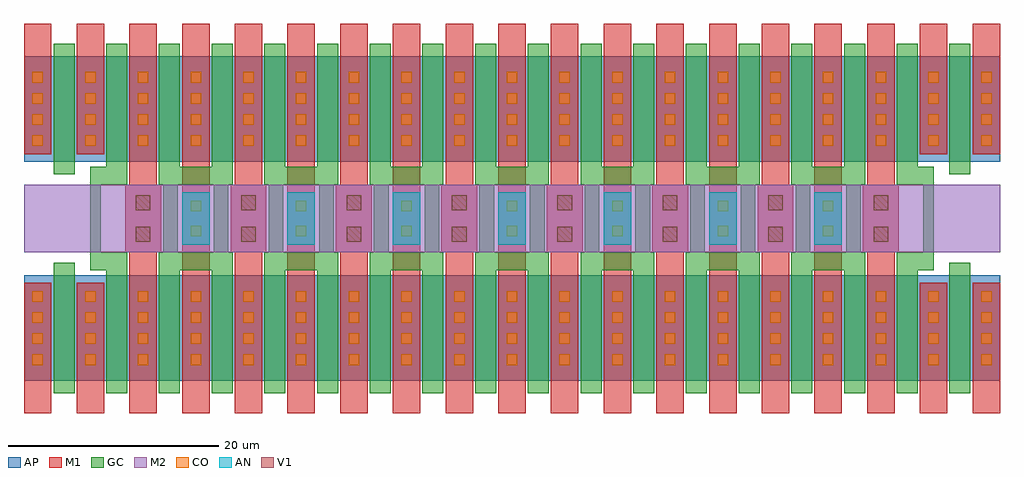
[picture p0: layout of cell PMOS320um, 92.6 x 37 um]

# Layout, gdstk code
import gdstk
lib = gdstk.Library(unit=1e-6, precision=1e-09)
def R(c, l, rs):  # rectangles x0, y0, x1, y1
    for r in rs: c.add(gdstk.rectangle(r[:2], r[2:], *l))
def A(c, l, x, y, w, h, nx, ny, dx, dy):  # array of equal rectangles
    R(c, l, [(x+i*dx, y+j*dy, x+i*dx+w, y+j*dy+h) for i in range(nx) for j in range(ny)])
AP = (3, 1)
AN = (3, 2)
GC = (8, 1)
CO = (11, 0)
M1 = (13, 0)
V1 = (19, 0)
M2 = (20, 0)

cont_n = lib.new_cell('cont_n')
R(cont_n, AN, [(-1.3,-1.3,1.3,1.3)])
R(cont_n, CO, [(-0.5,-0.5,0.5,0.5)])
R(cont_n, M1, [(-1.3,-1.3,1.3,1.3)])

via_1 = lib.new_cell('via_1')
R(via_1, M1, [(-1.7,-1.7,1.7,1.7)])
R(via_1, V1, [(-0.7,-0.7,0.7,0.7)])
R(via_1, M2, [(-1.7,-1.7,1.7,1.7)])

fet_p_2 = lib.new_cell('fet_p$2')
R(fet_p_2, AP, [(-3.8,-5,3.8,5)])
A(fet_p_2, CO, -3, -3.5, 1, 1, 1, 4, 0, 2)
A(fet_p_2, CO, 2, -3.5, 1, 1, 1, 4, 0, 2)
R(fet_p_2, M1, [(-3.8,-4.3,-1.2,4.3), (1.2,-4.3,3.8,4.3)])
fet_p_2.add(gdstk.FlexPath([(0,-6.2),(0,6.2)], 2, ends="flush", simple_path=True, layer=8, datatype=1))  # GC

fet_p = lib.new_cell('fet_p')
R(fet_p, AP, [(-41.3,-5,41.3,5)])
A(fet_p, CO, -40.5, -3.5, 1, 1, 17, 4, 5, 2)
A(fet_p, M1, -41.3, -4.3, 2.6, 8.6, 17, 1, 5, 0)
fet_p.add(gdstk.FlexPath([(2.5,-6.2),(2.5,6.2)], 2, ends="flush", simple_path=True, layer=8, datatype=1))  # GC
fet_p.add(gdstk.FlexPath([(-2.5,-6.2),(-2.5,6.2)], 2, ends="flush", simple_path=True, layer=8, datatype=1))  # GC
fet_p.add(gdstk.FlexPath([(7.5,-6.2),(7.5,6.2)], 2, ends="flush", simple_path=True, layer=8, datatype=1))  # GC
fet_p.add(gdstk.FlexPath([(-7.5,-6.2),(-7.5,6.2)], 2, ends="flush", simple_path=True, layer=8, datatype=1))  # GC
fet_p.add(gdstk.FlexPath([(12.5,-6.2),(12.5,6.2)], 2, ends="flush", simple_path=True, layer=8, datatype=1))  # GC
fet_p.add(gdstk.FlexPath([(-12.5,-6.2),(-12.5,6.2)], 2, ends="flush", simple_path=True, layer=8, datatype=1))  # GC
fet_p.add(gdstk.FlexPath([(17.5,-6.2),(17.5,6.2)], 2, ends="flush", simple_path=True, layer=8, datatype=1))  # GC
fet_p.add(gdstk.FlexPath([(-17.5,-6.2),(-17.5,6.2)], 2, ends="flush", simple_path=True, layer=8, datatype=1))  # GC
fet_p.add(gdstk.FlexPath([(22.5,-6.2),(22.5,6.2)], 2, ends="flush", simple_path=True, layer=8, datatype=1))  # GC
fet_p.add(gdstk.FlexPath([(-22.5,-6.2),(-22.5,6.2)], 2, ends="flush", simple_path=True, layer=8, datatype=1))  # GC
fet_p.add(gdstk.FlexPath([(27.5,-6.2),(27.5,6.2)], 2, ends="flush", simple_path=True, layer=8, datatype=1))  # GC
fet_p.add(gdstk.FlexPath([(-27.5,-6.2),(-27.5,6.2)], 2, ends="flush", simple_path=True, layer=8, datatype=1))  # GC
fet_p.add(gdstk.FlexPath([(32.5,-6.2),(32.5,6.2)], 2, ends="flush", simple_path=True, layer=8, datatype=1))  # GC
fet_p.add(gdstk.FlexPath([(-32.5,-6.2),(-32.5,6.2)], 2, ends="flush", simple_path=True, layer=8, datatype=1))  # GC
fet_p.add(gdstk.FlexPath([(37.5,-6.2),(37.5,6.2)], 2, ends="flush", simple_path=True, layer=8, datatype=1))  # GC
fet_p.add(gdstk.FlexPath([(-37.5,-6.2),(-37.5,6.2)], 2, ends="flush", simple_path=True, layer=8, datatype=1))  # GC

pmos320um = lib.new_cell('PMOS320um')
A(pmos320um, GC, -33.5, -4.9, 7, 1.7, 7, 2, 10, 8.1)
R(pmos320um, GC, [(-40,-4.9,-36.5,-3.2), (36.5,-4.9,40,-3.2), (-40,3.2,-36.5,4.9), (36.5,3.2,40,4.9)])
pmos320um.add(gdstk.FlexPath([(30,-6.1),(30,-2.5),(30,-2.5)], 2.6, ends="flush", simple_path=True, layer=13, datatype=0))  # M1
pmos320um.add(gdstk.FlexPath([(30,2.5),(30,6.1)], 2.6, ends="flush", simple_path=True, layer=13, datatype=0))  # M1
pmos320um.add(gdstk.FlexPath([(-40,-18.5),(-40,-14.7)], 2.6, ends="flush", simple_path=True, layer=13, datatype=0))  # M1
pmos320um.add(gdstk.FlexPath([(-45,-18.5),(-45,-14.7)], 2.6, ends="flush", simple_path=True, layer=13, datatype=0))  # M1
pmos320um.add(gdstk.FlexPath([(20,-6.1),(20,-2.5),(20,-2.5)], 2.6, ends="flush", simple_path=True, layer=13, datatype=0))  # M1
pmos320um.add(gdstk.FlexPath([(20,2.5),(20,6.1)], 2.6, ends="flush", simple_path=True, layer=13, datatype=0))  # M1
pmos320um.add(gdstk.FlexPath([(10,-6.1),(10,-2.5),(10,-2.5)], 2.6, ends="flush", simple_path=True, layer=13, datatype=0))  # M1
pmos320um.add(gdstk.FlexPath([(10,2.5),(10,6.1)], 2.6, ends="flush", simple_path=True, layer=13, datatype=0))  # M1
pmos320um.add(gdstk.FlexPath([(0,-6.1),(0,-2.5),(0,-2.5)], 2.6, ends="flush", simple_path=True, layer=13, datatype=0))  # M1
pmos320um.add(gdstk.FlexPath([(0,2.5),(0,6.1)], 2.6, ends="flush", simple_path=True, layer=13, datatype=0))  # M1
pmos320um.add(gdstk.FlexPath([(-10,-6.1),(-10,-2.5),(-10,-2.5)], 2.6, ends="flush", simple_path=True, layer=13, datatype=0))  # M1
pmos320um.add(gdstk.FlexPath([(-10,2.5),(-10,6.1)], 2.6, ends="flush", simple_path=True, layer=13, datatype=0))  # M1
pmos320um.add(gdstk.FlexPath([(-20,-6.1),(-20,-2.5),(-20,-2.5)], 2.6, ends="flush", simple_path=True, layer=13, datatype=0))  # M1
pmos320um.add(gdstk.FlexPath([(-20,2.5),(-20,6.1)], 2.6, ends="flush", simple_path=True, layer=13, datatype=0))  # M1
pmos320um.add(gdstk.FlexPath([(-30,-6.1),(-30,-2.5),(-30,-2.5)], 2.6, ends="flush", simple_path=True, layer=13, datatype=0))  # M1
pmos320um.add(gdstk.FlexPath([(-30,2.5),(-30,6.1)], 2.6, ends="flush", simple_path=True, layer=13, datatype=0))  # M1
pmos320um.add(gdstk.FlexPath([(-35,-18.5),(-35,-14.7)], 2.6, ends="flush", simple_path=True, layer=13, datatype=0))  # M1
pmos320um.add(gdstk.FlexPath([(-30,-14.7),(-30,-18.5)], 2.6, ends="flush", simple_path=True, layer=13, datatype=0))  # M1
pmos320um.add(gdstk.FlexPath([(-25,-14.7),(-25,-18.5)], 2.6, ends="flush", simple_path=True, layer=13, datatype=0))  # M1
pmos320um.add(gdstk.FlexPath([(-15,-18.5),(-15,-14.7)], 2.6, ends="flush", simple_path=True, layer=13, datatype=0))  # M1
pmos320um.add(gdstk.FlexPath([(-20,-18.5),(-20,-14.7)], 2.6, ends="flush", simple_path=True, layer=13, datatype=0))  # M1
pmos320um.add(gdstk.FlexPath([(-10,-18.5),(-10,-14.7)], 2.6, ends="flush", simple_path=True, layer=13, datatype=0))  # M1
pmos320um.add(gdstk.FlexPath([(-5,-14.7),(-5,-18.5)], 2.6, ends="flush", simple_path=True, layer=13, datatype=0))  # M1
pmos320um.add(gdstk.FlexPath([(0,-14.7),(0,-18.5)], 2.6, ends="flush", simple_path=True, layer=13, datatype=0))  # M1
pmos320um.add(gdstk.FlexPath([(10,-18.5),(10,-14.7)], 2.6, ends="flush", simple_path=True, layer=13, datatype=0))  # M1
pmos320um.add(gdstk.FlexPath([(5,-18.5),(5,-14.7)], 2.6, ends="flush", simple_path=True, layer=13, datatype=0))  # M1
pmos320um.add(gdstk.FlexPath([(15,-18.5),(15,-14.7)], 2.6, ends="flush", simple_path=True, layer=13, datatype=0))  # M1
pmos320um.add(gdstk.FlexPath([(20,-14.7),(20,-18.5)], 2.6, ends="flush", simple_path=True, layer=13, datatype=0))  # M1
pmos320um.add(gdstk.FlexPath([(25,-14.7),(25,-18.5)], 2.6, ends="flush", simple_path=True, layer=13, datatype=0))  # M1
pmos320um.add(gdstk.FlexPath([(35,-18.5),(35,-14.7)], 2.6, ends="flush", simple_path=True, layer=13, datatype=0))  # M1
pmos320um.add(gdstk.FlexPath([(30,-18.5),(30,-14.7)], 2.6, ends="flush", simple_path=True, layer=13, datatype=0))  # M1
pmos320um.add(gdstk.FlexPath([(40,-18.5),(40,-14.7)], 2.6, ends="flush", simple_path=True, layer=13, datatype=0))  # M1
pmos320um.add(gdstk.FlexPath([(45,-14.7),(45,-18.5)], 2.6, ends="flush", simple_path=True, layer=13, datatype=0))  # M1
pmos320um.add(gdstk.FlexPath([(-40,18.5),(-40,14.7)], 2.6, ends="flush", simple_path=True, layer=13, datatype=0))  # M1
pmos320um.add(gdstk.FlexPath([(-45,18.5),(-45,14.7)], 2.6, ends="flush", simple_path=True, layer=13, datatype=0))  # M1
pmos320um.add(gdstk.FlexPath([(-35,18.5),(-35,14.7)], 2.6, ends="flush", simple_path=True, layer=13, datatype=0))  # M1
pmos320um.add(gdstk.FlexPath([(-30,14.7),(-30,18.5)], 2.6, ends="flush", simple_path=True, layer=13, datatype=0))  # M1
pmos320um.add(gdstk.FlexPath([(-25,14.7),(-25,18.5)], 2.6, ends="flush", simple_path=True, layer=13, datatype=0))  # M1
pmos320um.add(gdstk.FlexPath([(-15,18.5),(-15,14.7)], 2.6, ends="flush", simple_path=True, layer=13, datatype=0))  # M1
pmos320um.add(gdstk.FlexPath([(-20,18.5),(-20,14.7)], 2.6, ends="flush", simple_path=True, layer=13, datatype=0))  # M1
pmos320um.add(gdstk.FlexPath([(-10,18.5),(-10,14.7)], 2.6, ends="flush", simple_path=True, layer=13, datatype=0))  # M1
pmos320um.add(gdstk.FlexPath([(-5,14.7),(-5,18.5)], 2.6, ends="flush", simple_path=True, layer=13, datatype=0))  # M1
pmos320um.add(gdstk.FlexPath([(0,14.7),(0,18.5)], 2.6, ends="flush", simple_path=True, layer=13, datatype=0))  # M1
pmos320um.add(gdstk.FlexPath([(10,18.5),(10,14.7)], 2.6, ends="flush", simple_path=True, layer=13, datatype=0))  # M1
pmos320um.add(gdstk.FlexPath([(5,18.5),(5,14.7)], 2.6, ends="flush", simple_path=True, layer=13, datatype=0))  # M1
pmos320um.add(gdstk.FlexPath([(15,18.5),(15,14.7)], 2.6, ends="flush", simple_path=True, layer=13, datatype=0))  # M1
pmos320um.add(gdstk.FlexPath([(20,14.7),(20,18.5)], 2.6, ends="flush", simple_path=True, layer=13, datatype=0))  # M1
pmos320um.add(gdstk.FlexPath([(25,14.7),(25,18.5)], 2.6, ends="flush", simple_path=True, layer=13, datatype=0))  # M1
pmos320um.add(gdstk.FlexPath([(35,18.5),(35,14.7)], 2.6, ends="flush", simple_path=True, layer=13, datatype=0))  # M1
pmos320um.add(gdstk.FlexPath([(30,18.5),(30,14.7)], 2.6, ends="flush", simple_path=True, layer=13, datatype=0))  # M1
pmos320um.add(gdstk.FlexPath([(40,18.5),(40,14.7)], 2.6, ends="flush", simple_path=True, layer=13, datatype=0))  # M1
pmos320um.add(gdstk.FlexPath([(45,14.7),(45,18.5)], 2.6, ends="flush", simple_path=True, layer=13, datatype=0))  # M1
pmos320um.add(gdstk.FlexPath([(35,-6.1),(35,-3.2)], 2.6, ends="flush", simple_path=True, layer=13, datatype=0))  # M1
pmos320um.add(gdstk.FlexPath([(35,3.2),(35,6.1)], 2.6, ends="flush", simple_path=True, layer=13, datatype=0))  # M1
pmos320um.add(gdstk.FlexPath([(25,-6.1),(25,-3.2)], 2.6, ends="flush", simple_path=True, layer=13, datatype=0))  # M1
pmos320um.add(gdstk.FlexPath([(25,3.2),(25,6.1)], 2.6, ends="flush", simple_path=True, layer=13, datatype=0))  # M1
pmos320um.add(gdstk.FlexPath([(15,-6.1),(15,-3.2)], 2.6, ends="flush", simple_path=True, layer=13, datatype=0))  # M1
pmos320um.add(gdstk.FlexPath([(15,3.2),(15,6.1)], 2.6, ends="flush", simple_path=True, layer=13, datatype=0))  # M1
pmos320um.add(gdstk.FlexPath([(5,-6.1),(5,-3.2)], 2.6, ends="flush", simple_path=True, layer=13, datatype=0))  # M1
pmos320um.add(gdstk.FlexPath([(5,3.2),(5,6.1)], 2.6, ends="flush", simple_path=True, layer=13, datatype=0))  # M1
pmos320um.add(gdstk.FlexPath([(-5,-6.1),(-5,-3.2)], 2.6, ends="flush", simple_path=True, layer=13, datatype=0))  # M1
pmos320um.add(gdstk.FlexPath([(-5,3.2),(-5,6.1)], 2.6, ends="flush", simple_path=True, layer=13, datatype=0))  # M1
pmos320um.add(gdstk.FlexPath([(-15,-6.1),(-15,-3.2)], 2.6, ends="flush", simple_path=True, layer=13, datatype=0))  # M1
pmos320um.add(gdstk.FlexPath([(-15,3.2),(-15,6.1)], 2.6, ends="flush", simple_path=True, layer=13, datatype=0))  # M1
pmos320um.add(gdstk.FlexPath([(-25,3.2),(-25,6.1)], 2.6, ends="flush", simple_path=True, layer=13, datatype=0))  # M1
pmos320um.add(gdstk.FlexPath([(-25,-6.1),(-25,-3.2)], 2.6, ends="flush", simple_path=True, layer=13, datatype=0))  # M1
pmos320um.add(gdstk.FlexPath([(-35,-6.1),(-35,-3.2)], 2.6, ends="flush", simple_path=True, layer=13, datatype=0))  # M1
pmos320um.add(gdstk.FlexPath([(-35,3.2),(-35,6.1)], 2.6, ends="flush", simple_path=True, layer=13, datatype=0))  # M1
pmos320um.add(gdstk.FlexPath([(-46.3,0),(46.3,0)], 6.4, ends="flush", simple_path=True, layer=20, datatype=0))  # M2
pmos320um.add(gdstk.FlexPath([(-39.5,-3.2),(-39.5,3.2)], 1, ends="flush", simple_path=True, layer=8, datatype=1))  # GC
pmos320um.add(gdstk.FlexPath([(39.5,-3.2),(39.5,3.2)], 1, ends="flush", simple_path=True, layer=8, datatype=1))  # GC
pmos320um.add(gdstk.FlexPath([(17.6,-3.2),(17.6,3.2),(17.6,3.2)], 1.4, ends="flush", simple_path=True, layer=8, datatype=1))  # GC
pmos320um.add(gdstk.FlexPath([(22.4,-3.2),(22.4,3.2),(22.4,3.2)], 1.4, ends="flush", simple_path=True, layer=8, datatype=1))  # GC
pmos320um.add(gdstk.FlexPath([(7.6,-3.2),(7.6,3.2),(7.6,3.2)], 1.4, ends="flush", simple_path=True, layer=8, datatype=1))  # GC
pmos320um.add(gdstk.FlexPath([(12.4,-3.2),(12.4,3.2),(12.4,3.2)], 1.4, ends="flush", simple_path=True, layer=8, datatype=1))  # GC
pmos320um.add(gdstk.FlexPath([(27.6,-3.2),(27.6,3.2),(27.6,3.2)], 1.4, ends="flush", simple_path=True, layer=8, datatype=1))  # GC
pmos320um.add(gdstk.FlexPath([(32.4,-3.2),(32.4,3.2),(32.4,3.2)], 1.4, ends="flush", simple_path=True, layer=8, datatype=1))  # GC
pmos320um.add(gdstk.FlexPath([(-2.4,-3.2),(-2.4,3.2),(-2.4,3.2)], 1.4, ends="flush", simple_path=True, layer=8, datatype=1))  # GC
pmos320um.add(gdstk.FlexPath([(2.4,-3.2),(2.4,3.2),(2.4,3.2)], 1.4, ends="flush", simple_path=True, layer=8, datatype=1))  # GC
pmos320um.add(gdstk.FlexPath([(-12.4,-3.2),(-12.4,3.2),(-12.4,3.2)], 1.4, ends="flush", simple_path=True, layer=8, datatype=1))  # GC
pmos320um.add(gdstk.FlexPath([(-7.6,-3.2),(-7.6,3.2),(-7.6,3.2)], 1.4, ends="flush", simple_path=True, layer=8, datatype=1))  # GC
pmos320um.add(gdstk.FlexPath([(-22.4,-3.2),(-22.4,3.2),(-22.4,3.2)], 1.4, ends="flush", simple_path=True, layer=8, datatype=1))  # GC
pmos320um.add(gdstk.FlexPath([(-17.6,-3.2),(-17.6,3.2),(-17.6,3.2)], 1.4, ends="flush", simple_path=True, layer=8, datatype=1))  # GC
pmos320um.add(gdstk.FlexPath([(-32.4,-3.2),(-32.4,3.2),(-32.4,3.2)], 1.4, ends="flush", simple_path=True, layer=8, datatype=1))  # GC
pmos320um.add(gdstk.FlexPath([(-27.6,-3.2),(-27.6,3.2),(-27.6,3.2)], 1.4, ends="flush", simple_path=True, layer=8, datatype=1))  # GC
r = gdstk.Reference(cont_n, (30,-1.2)); r.repetition = gdstk.Repetition(1, 2, v1=(0,0), v2=(0,2.4)); pmos320um.add(r)
r = gdstk.Reference(via_1, (-35,1.5), x_reflection=True); r.repetition = gdstk.Repetition(8, 2, v1=(10,0), v2=(0,-3)); pmos320um.add(r)
pmos320um.add(gdstk.Reference(fet_p_2, (-42.5,10.4)))
pmos320um.add(gdstk.Reference(fet_p_2, (42.5,10.4)))
pmos320um.add(gdstk.Reference(fet_p, (0,10.4)))
pmos320um.add(gdstk.Reference(fet_p_2, (-42.5,-10.4), x_reflection=True))
pmos320um.add(gdstk.Reference(fet_p_2, (42.5,-10.4), x_reflection=True))
r = gdstk.Reference(cont_n, (20,-1.2)); r.repetition = gdstk.Repetition(1, 2, v1=(0,0), v2=(0,2.4)); pmos320um.add(r)
r = gdstk.Reference(cont_n, (10,-1.2)); r.repetition = gdstk.Repetition(1, 2, v1=(0,0), v2=(0,2.4)); pmos320um.add(r)
r = gdstk.Reference(cont_n, (0,-1.2)); r.repetition = gdstk.Repetition(1, 2, v1=(0,0), v2=(0,2.4)); pmos320um.add(r)
pmos320um.add(gdstk.Reference(fet_p, (0,-10.4), x_reflection=True))
r = gdstk.Reference(cont_n, (-10,-1.2)); r.repetition = gdstk.Repetition(1, 2, v1=(0,0), v2=(0,2.4)); pmos320um.add(r)
r = gdstk.Reference(cont_n, (-20,-1.2)); r.repetition = gdstk.Repetition(1, 2, v1=(0,0), v2=(0,2.4)); pmos320um.add(r)
r = gdstk.Reference(cont_n, (-30,-1.2)); r.repetition = gdstk.Repetition(1, 2, v1=(0,0), v2=(0,2.4)); pmos320um.add(r)

lib.write_gds('PMOS320um.gds')
